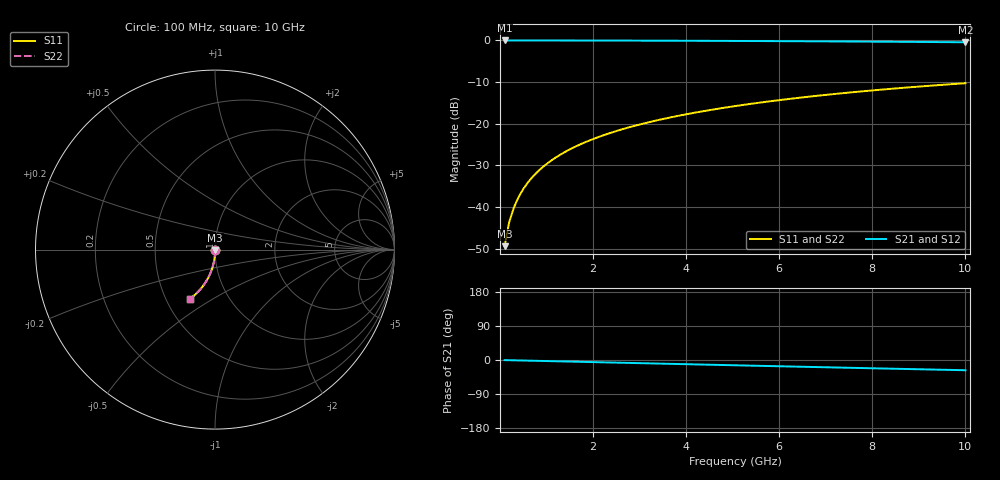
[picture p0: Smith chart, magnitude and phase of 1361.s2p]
# Hz S RI R 50.00
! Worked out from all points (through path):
!   100 points, 100 MHz to 10 GHz, reference 50 ohm
!   highest |S21| = -0.01 dB at 100 MHz (marker M1); lowest = -0.4 dB at 10 GHz (marker M2)
!   group delay of S21, straight-line fit = 7.52 ps
!   lowest |S11| = -49.4 dB at 100 MHz (marker M3), VSWR 1.01, Z = 50.1 - j0.329 ohm
!   |S11| at or under -10 dB: start of sweep to end of sweep
!   |S22| runs from -49.4 to -10.3 dB; largest |S21 - S12| = 0
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1e8  0.000811 -0.00328  0.9991 -0.00485  0.9991 -0.00485  0.000811 -0.00328
2e8  0.000765 -0.00656  0.9991 -0.00971  0.9991 -0.00971  0.000765 -0.00656
3e8  0.000685 -0.00984  0.999 -0.0146  0.999 -0.0146  0.000685 -0.00984
4e8  0.000573 -0.0131  0.9989 -0.0194  0.9989 -0.0194  0.000573 -0.0131
5e8  0.000429 -0.0164  0.9987 -0.0243  0.9987 -0.0243  0.000429 -0.0164
6e8  0.000253 -0.0197  0.9985 -0.0291  0.9985 -0.0291  0.000253 -0.0197
7e8  4.44e-05 -0.0229  0.9983 -0.034  0.9983 -0.034  4.44e-05 -0.0229
8e8  -0.000196 -0.0262  0.998 -0.0388  0.998 -0.0388  -0.000196 -0.0262
9e8  -0.000468 -0.0295  0.9977 -0.0436  0.9977 -0.0436  -0.000468 -0.0295
1.1e9  -0.00111 -0.036  0.997 -0.0533  0.997 -0.0533  -0.00111 -0.036
1.4e9  -0.0023 -0.0458  0.9957 -0.0678  0.9957 -0.0678  -0.0023 -0.0458
1.8e9  -0.00434 -0.0587  0.9935 -0.087  0.9935 -0.087  -0.00434 -0.0587
2.1e9  -0.00619 -0.0683  0.9915 -0.1014  0.9915 -0.1014  -0.00619 -0.0683
2.5e9  -0.00909 -0.0811  0.9884 -0.1204  0.9884 -0.1204  -0.00909 -0.0811
2.9e9  -0.0125 -0.0937  0.9847 -0.1393  0.9847 -0.1393  -0.0125 -0.0937
3.4e9  -0.0174 -0.1092  0.9794 -0.1626  0.9794 -0.1626  -0.0174 -0.1092
4.2e9  -0.0267 -0.1333  0.9693 -0.1994  0.9693 -0.1994  -0.0267 -0.1333
5.1e9  -0.0392 -0.1594  0.9557 -0.2397  0.9557 -0.2397  -0.0392 -0.1594
5.9e9  -0.0521 -0.1814  0.9417 -0.2744  0.9417 -0.2744  -0.0521 -0.1814
6.7e9  -0.0665 -0.2022  0.926 -0.3078  0.926 -0.3078  -0.0665 -0.2022
8.4e9  -0.1013 -0.2419  0.8879 -0.3746  0.8879 -0.3746  -0.1013 -0.2419
1e10  -0.1384 -0.2732  0.847 -0.4314  0.847 -0.4314  -0.1384 -0.2732
